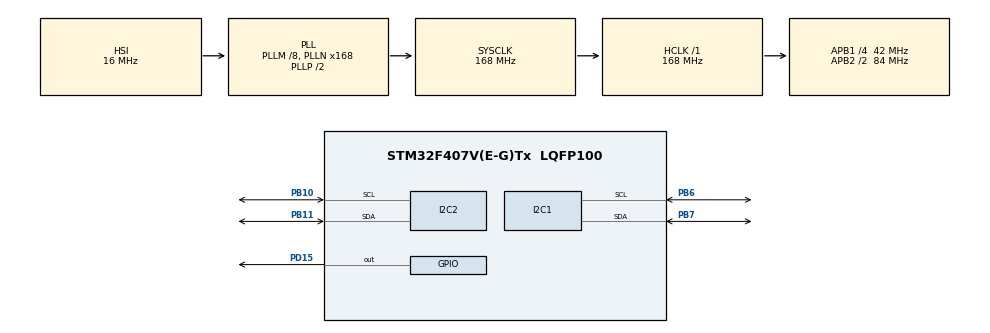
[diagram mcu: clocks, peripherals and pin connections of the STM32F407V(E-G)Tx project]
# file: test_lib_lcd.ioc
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Mcu.Family=STM32F4
Mcu.Name=STM32F407V(E-G)Tx
Mcu.Package=LQFP100
NVIC.PriorityGroup=NVIC_PRIORITYGROUP_4
PA13.Mode=Serial_Wire
PA13.Signal=SYS_JTMS-SWDIO
PA14.Mode=Serial_Wire
PA14.Signal=SYS_JTCK-SWCLK
PB10.Mode=I2C
PB10.Signal=I2C2_SCL
PB11.Mode=I2C
PB11.Signal=I2C2_SDA
PB6.Mode=I2C
PB6.Signal=I2C1_SCL
PB7.Mode=I2C
PB7.Signal=I2C1_SDA
PD15.Signal=GPIO_Output
PH0-OSC_IN.Mode=HSE-External-Oscillator
PH0-OSC_IN.Signal=RCC_OSC_IN
PH1-OSC_OUT.Mode=HSE-External-Oscillator
PH1-OSC_OUT.Signal=RCC_OSC_OUT
ProjectManager.HeapSize=0x200
ProjectManager.StackSize=0x400
ProjectManager.TargetToolchain=MDK-ARM V5.32
RCC.48MHZClocksFreq_Value=84000000
RCC.AHBFreq_Value=168000000
RCC.APB1CLKDivider=RCC_HCLK_DIV4
RCC.APB1Freq_Value=42000000
RCC.APB1TimFreq_Value=84000000
RCC.APB2CLKDivider=RCC_HCLK_DIV2
RCC.APB2Freq_Value=84000000
RCC.APB2TimFreq_Value=168000000
RCC.CortexFreq_Value=168000000
RCC.HCLKFreq_Value=168000000
RCC.HSE_VALUE=25000000
RCC.HSI_VALUE=16000000
RCC.LSE_VALUE=32768
RCC.PLLM=8
RCC.PLLN=168
RCC.SYSCLKFreq_VALUE=168000000
RCC.SYSCLKSource=RCC_SYSCLKSOURCE_PLLCLK
RCC.VCOOutputFreq_Value=336000000
board=custom

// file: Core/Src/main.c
/* USER CODE BEGIN Header */
/**
  ******************************************************************************
  * @file           : main.c
  * @brief          : Main program body
  ******************************************************************************
  * @attention
  *
  * Copyright (c) 2025 STMicroelectronics.
  * All rights reserved.
  *
  * This software is licensed under terms that can be found in the LICENSE file
  * in the root directory of this software component.
  * If no LICENSE file comes with this software, it is provided AS-IS.
  *
  ******************************************************************************
  */
/* USER CODE END Header */
#include "main.h"

/* USER CODE BEGIN PD */
#include "stdio.h"
#include "string.h"
/* USER CODE END PD */

I2C_HandleTypeDef hi2c1;
I2C_HandleTypeDef hi2c2;

void SystemClock_Config(void);
static void MX_GPIO_Init(void);
static void MX_I2C1_Init(void);
static void MX_I2C2_Init(void);

/* USER CODE BEGIN 0 */
void lcd_i2c_send_cmd(uint8_t data);
void lcd_init(void);
void lcd_i2c_send_data(uint8_t data);
void lcd_i2c_clear(void);
void lcd_i2c_set_cs(int x, int y);
void lcd_i2c_send_string(char *string);
void lcd_i2c_send_num(int num);
void lcd_i2c_backlight_on(void);
void lcd_i2c_backlight_off(void);
#define device_id 0x27<<1

void lcd_i2c_send_cmd(uint8_t data){
	uint8_t buf[4] = {(data&0xf0)|0x0c , (data&0xf0)|0x08, (data<<4)|0x0c, (data<<4)|0x08};
	HAL_I2C_Master_Transmit(&hi2c2,device_id,buf,sizeof(buf), 10);
}
void lcd_init(){
	lcd_i2c_send_cmd(0x33);
	lcd_i2c_send_cmd(0x32);
	lcd_i2c_send_cmd(0x28);
	lcd_i2c_send_cmd(0x0c);
	lcd_i2c_send_cmd(0x06);
	lcd_i2c_send_cmd(0x01);
	HAL_Delay(15);
}
void lcd_i2c_send_data(uint8_t data){
	uint8_t buf[4] = {(data & 0xF0) | 0x0D, (data & 0xF0) | 0x09, (data << 4) | 0x0D, (data << 4) | 0x09};
	HAL_I2C_Master_Transmit(&hi2c2, device_id, buf, sizeof(buf), 10);
	HAL_Delay(2);
}
void lcd_i2c_clear(){
	lcd_i2c_send_cmd(0x01);
	HAL_Delay(2);
}
void lcd_i2c_set_cs(int x, int y){
	if(x==0){
		lcd_i2c_send_cmd(0x80 + y);
	}else
	if(x==1){
		lcd_i2c_send_cmd(0xC0 + y);
	}
}
void lcd_i2c_send_string(char *string){
	for(int i=0; i<strlen(string); i++){
		lcd_i2c_send_data(string[i]);
	}
}
void lcd_i2c_send_num(int num){
	char buff[8];
	sprintf(buff, "%d", num);
	lcd_i2c_send_string(buff);
}
void lcd_i2c_backlight_on() {
    uint8_t data = 0x08; // B?t backlight
    HAL_I2C_Master_Transmit(&hi2c2, device_id, &data, 1, 10);
}

void lcd_i2c_backlight_off() {
    uint8_t data = 0x00; // B?t backlight
    HAL_I2C_Master_Transmit(&hi2c2, device_id, &data, 1, 10);
}
/* USER CODE END 0 */

int main(void)
{

  /* MCU Configuration--------------------------------------------------------*/

  /* Reset of all peripherals, Initializes the Flash interface and the Systick. */
  HAL_Init();

  /* Configure the system clock */
  SystemClock_Config();

  /* Initialize all configured peripherals */
  MX_GPIO_Init();
  MX_I2C1_Init();
  MX_I2C2_Init();
	lcd_init();
	lcd_i2c_send_string("HELLO WORLD");

  /* Infinite loop */
  while (1)
  {

    /* USER CODE BEGIN 3 */
//		HAL_GPIO_TogglePin(GPIOD, GPIO_PIN_15);
//		HAL_Delay(50);
  }
  /* USER CODE END 3 */
}

void SystemClock_Config(void)
{
  RCC_OscInitTypeDef RCC_OscInitStruct = {0};
  RCC_ClkInitTypeDef RCC_ClkInitStruct = {0};

  /** Configure the main internal regulator output voltage
  */
  __HAL_RCC_PWR_CLK_ENABLE();
  __HAL_PWR_VOLTAGESCALING_CONFIG(PWR_REGULATOR_VOLTAGE_SCALE1);

  /** Initializes the RCC Oscillators according to the specified parameters
  * in the RCC_OscInitTypeDef structure.
  */
  RCC_OscInitStruct.OscillatorType = RCC_OSCILLATORTYPE_HSI;
  RCC_OscInitStruct.HSIState = RCC_HSI_ON;
  RCC_OscInitStruct.HSICalibrationValue = RCC_HSICALIBRATION_DEFAULT;
  RCC_OscInitStruct.PLL.PLLState = RCC_PLL_ON;
  RCC_OscInitStruct.PLL.PLLSource = RCC_PLLSOURCE_HSI;
  RCC_OscInitStruct.PLL.PLLM = 8;
  RCC_OscInitStruct.PLL.PLLN = 168;
  RCC_OscInitStruct.PLL.PLLP = RCC_PLLP_DIV2;
  RCC_OscInitStruct.PLL.PLLQ = 4;
  if (HAL_RCC_OscConfig(&RCC_OscInitStruct) != HAL_OK)
  {
    Error_Handler();
  }

  /** Initializes the CPU, AHB and APB buses clocks
  */
  RCC_ClkInitStruct.ClockType = RCC_CLOCKTYPE_HCLK|RCC_CLOCKTYPE_SYSCLK
                              |RCC_CLOCKTYPE_PCLK1|RCC_CLOCKTYPE_PCLK2;
  RCC_ClkInitStruct.SYSCLKSource = RCC_SYSCLKSOURCE_PLLCLK;
  RCC_ClkInitStruct.AHBCLKDivider = RCC_SYSCLK_DIV1;
  RCC_ClkInitStruct.APB1CLKDivider = RCC_HCLK_DIV4;
  RCC_ClkInitStruct.APB2CLKDivider = RCC_HCLK_DIV2;

  if (HAL_RCC_ClockConfig(&RCC_ClkInitStruct, FLASH_LATENCY_5) != HAL_OK)
  {
    Error_Handler();
  }
}

static void MX_I2C1_Init(void)
{

  hi2c1.Instance = I2C1;
  hi2c1.Init.ClockSpeed = 100000;
  hi2c1.Init.DutyCycle = I2C_DUTYCYCLE_2;
  hi2c1.Init.OwnAddress1 = 0;
  hi2c1.Init.AddressingMode = I2C_ADDRESSINGMODE_7BIT;
  hi2c1.Init.DualAddressMode = I2C_DUALADDRESS_DISABLE;
  hi2c1.Init.OwnAddress2 = 0;
  hi2c1.Init.GeneralCallMode = I2C_GENERALCALL_DISABLE;
  hi2c1.Init.NoStretchMode = I2C_NOSTRETCH_DISABLE;
  if (HAL_I2C_Init(&hi2c1) != HAL_OK)
  {
    Error_Handler();
  }

}

static void MX_I2C2_Init(void)
{

  hi2c2.Instance = I2C2;
  hi2c2.Init.ClockSpeed = 100000;
  hi2c2.Init.DutyCycle = I2C_DUTYCYCLE_2;
  hi2c2.Init.OwnAddress1 = 0;
  hi2c2.Init.AddressingMode = I2C_ADDRESSINGMODE_7BIT;
  hi2c2.Init.DualAddressMode = I2C_DUALADDRESS_DISABLE;
  hi2c2.Init.OwnAddress2 = 0;
  hi2c2.Init.GeneralCallMode = I2C_GENERALCALL_DISABLE;
  hi2c2.Init.NoStretchMode = I2C_NOSTRETCH_DISABLE;
  if (HAL_I2C_Init(&hi2c2) != HAL_OK)
  {
    Error_Handler();
  }

}

static void MX_GPIO_Init(void)
{
  GPIO_InitTypeDef GPIO_InitStruct = {0};

  /* GPIO Ports Clock Enable */
  __HAL_RCC_GPIOH_CLK_ENABLE();
  __HAL_RCC_GPIOB_CLK_ENABLE();
  __HAL_RCC_GPIOD_CLK_ENABLE();
  __HAL_RCC_GPIOA_CLK_ENABLE();

  /*Configure GPIO pin Output Level */
  HAL_GPIO_WritePin(GPIOD, GPIO_PIN_15, GPIO_PIN_RESET);

  /*Configure GPIO pin : PD15 */
  GPIO_InitStruct.Pin = GPIO_PIN_15;
  GPIO_InitStruct.Mode = GPIO_MODE_OUTPUT_PP;
  GPIO_InitStruct.Pull = GPIO_NOPULL;
  GPIO_InitStruct.Speed = GPIO_SPEED_FREQ_LOW;
  HAL_GPIO_Init(GPIOD, &GPIO_InitStruct);

}

void Error_Handler(void)
{
  __disable_irq();
  while (1)
  {
  }
}
